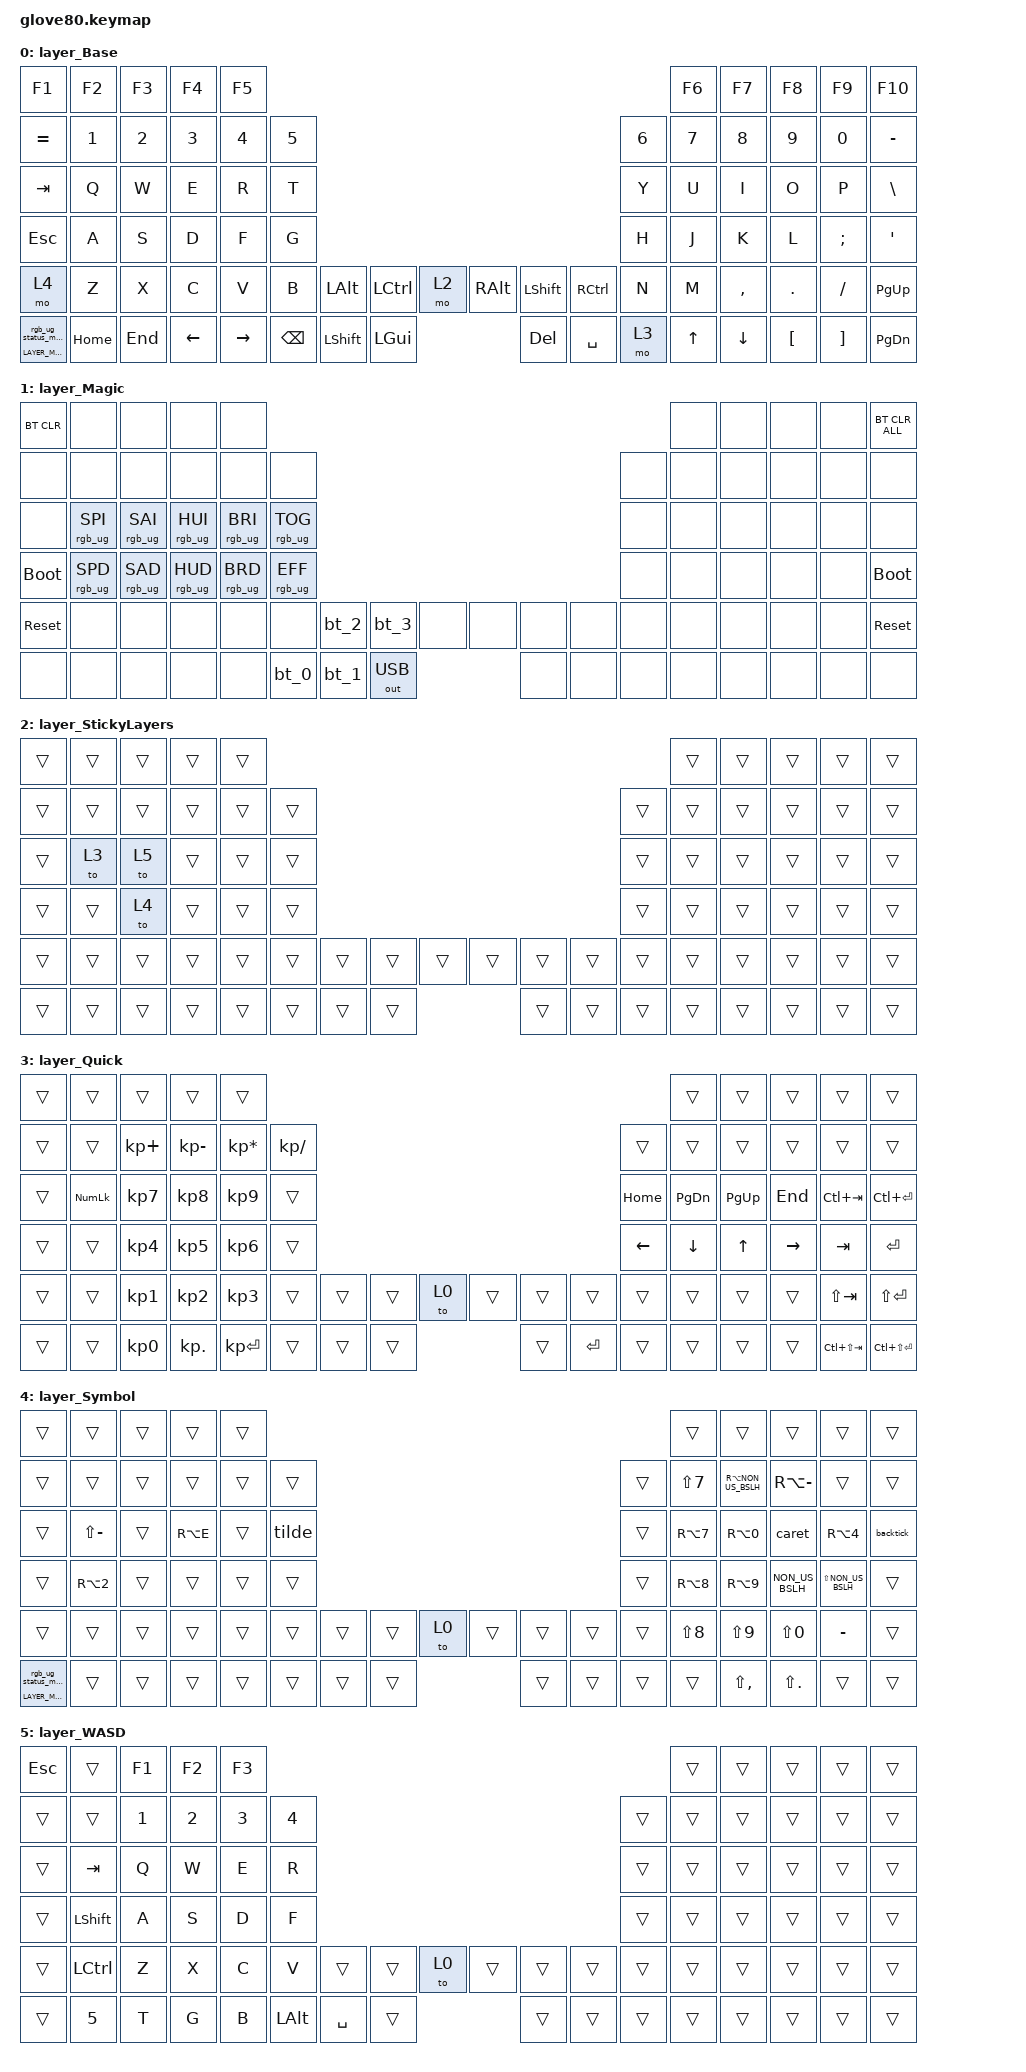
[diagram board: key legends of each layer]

/*
 * Copyright (c) 2020 The ZMK Contributors
 * Copyright (c) 2023 Innaworks Development Limited, trading as MoErgo
 *
 * SPDX-License-Identifier: MIT
 */


/* THIS FILE WAS GENERATED BY GLOVE80 LAYOUT EDITOR
 *
 * This file was generated automatically. You may or may not want to
 * edit it directly.
 */

#include <behaviors.dtsi>
/* Include all behavior includes needed */
#include <dt-bindings/zmk/outputs.h>
#include <dt-bindings/zmk/keys.h>
#include <dt-bindings/zmk/bt.h>
#include <dt-bindings/zmk/rgb.h>

/* Automatically generated layer name #define */
#define LAYER_Base 0
#define LAYER_Magic 1
#define LAYER_StickyLayers 2
#define LAYER_Quick 3
#define LAYER_Symbol 4
#define LAYER_WASD 5

/* To deal with the situation where there is no Lower layer, to keep &lower happy */
#ifndef LAYER_Lower
#define LAYER_Lower 0
#endif

/* Custom Device-tree */



/* Glove80 system behavior & macros */
/ {
    behaviors {
        // For the "layer" key, it'd nice to be able to use it as either a shift or a toggle.
        // Configure it as a tap dance, so the first tap (or hold) is a &mo and the second tap is a &to
        lower: lower {
            compatible = "zmk,behavior-tap-dance";
            label = "LAYER_TAP_DANCE";
            #binding-cells = <0>;
            tapping-term-ms = <200>;
            bindings = <&mo LAYER_Lower>, <&to LAYER_Lower>;
        };
    };
};

/ {
    macros {
        rgb_ug_status_macro: rgb_ug_status_macro {
            label = "RGB_UG_STATUS";
            compatible = "zmk,behavior-macro";
            #binding-cells = <0>;
            bindings
                = <&rgb_ug RGB_STATUS>;
        };
    };
};


/ {
#ifdef BT_DISC_CMD
    behaviors {
        bt_0: bt_0 {
            compatible = "zmk,behavior-tap-dance";
            label = "BT_0";
            #binding-cells = <0>;
            tapping-term-ms = <200>;
            bindings = <&bt_select_0>, <&bt BT_DISC 0>;
        };
        bt_1: bt_1 {
            compatible = "zmk,behavior-tap-dance";
            label = "BT_1";
            #binding-cells = <0>;
            tapping-term-ms = <200>;
            bindings = <&bt_select_1>, <&bt BT_DISC 1>;
        };
        bt_2: bt_2 {
            compatible = "zmk,behavior-tap-dance";
            label = "BT_2";
            #binding-cells = <0>;
            tapping-term-ms = <200>;
            bindings = <&bt_select_2>, <&bt BT_DISC 2>;
        };
        bt_3: bt_3 {
            compatible = "zmk,behavior-tap-dance";
            label = "BT_3";
            #binding-cells = <0>;
            tapping-term-ms = <200>;
            bindings = <&bt_select_3>, <&bt BT_DISC 3>;
        };
    };
    macros {
        bt_select_0: bt_select_0 {
            label = "BT_SELECT_0";
            compatible = "zmk,behavior-macro";
            #binding-cells = <0>;
            bindings
                = <&out OUT_BLE>,
                  <&bt BT_SEL 0>;
        };
        bt_select_1: bt_select_1 {
            label = "BT_SELECT_1";
            compatible = "zmk,behavior-macro";
            #binding-cells = <0>;
            bindings
                = <&out OUT_BLE>,
                  <&bt BT_SEL 1>;
        };
        bt_select_2: bt_select_2 {
            label = "BT_SELECT_2";
            compatible = "zmk,behavior-macro";
            #binding-cells = <0>;
            bindings
                = <&out OUT_BLE>,
                  <&bt BT_SEL 2>;
        };
        bt_select_3: bt_select_3 {
            label = "BT_SELECT_3";
            compatible = "zmk,behavior-macro";
            #binding-cells = <0>;
            bindings
                = <&out OUT_BLE>,
                  <&bt BT_SEL 3>;
        };
    };
#else
    macros {
        bt_0: bt_0 {
            label = "BT_0";
            compatible = "zmk,behavior-macro";
            #binding-cells = <0>;
            bindings
                = <&out OUT_BLE>,
                  <&bt BT_SEL 0>;
        };
        bt_1: bt_1 {
            label = "BT_1";
            compatible = "zmk,behavior-macro";
            #binding-cells = <0>;
            bindings
                = <&out OUT_BLE>,
                  <&bt BT_SEL 1>;
        };
        bt_2: bt_2 {
            label = "BT_2";
            compatible = "zmk,behavior-macro";
            #binding-cells = <0>;
            bindings
                = <&out OUT_BLE>,
                  <&bt BT_SEL 2>;
        };
        bt_3: bt_3 {
            label = "BT_3";
            compatible = "zmk,behavior-macro";
            #binding-cells = <0>;
            bindings
                = <&out OUT_BLE>,
                  <&bt BT_SEL 3>;
        };
    };
#endif
};

/ {
    behaviors {
        magic: magic {
            compatible = "zmk,behavior-hold-tap";
            label = "MAGIC_HOLD_TAP";
            #binding-cells = <2>;
            flavor = "tap-preferred";
            tapping-term-ms = <200>;
            bindings = <&mo>, <&rgb_ug_status_macro>;
        };
    };
};

/* #define for key positions */
#define POS_LH_T1 52
#define POS_LH_T2 53
#define POS_LH_T3 54
#define POS_LH_T4 69
#define POS_LH_T5 70
#define POS_LH_T6 71
#define POS_LH_C1R2 15
#define POS_LH_C1R3 27
#define POS_LH_C1R4 39
#define POS_LH_C1R5 51
#define POS_LH_C2R1 4
#define POS_LH_C2R2 14
#define POS_LH_C2R3 26
#define POS_LH_C2R4 38
#define POS_LH_C2R5 50
#define POS_LH_C2R6 68
#define POS_LH_C3R1 3
#define POS_LH_C3R2 13
#define POS_LH_C3R3 25
#define POS_LH_C3R4 37
#define POS_LH_C3R5 49
#define POS_LH_C3R6 67
#define POS_LH_C4R1 2
#define POS_LH_C4R2 12
#define POS_LH_C4R3 24
#define POS_LH_C4R4 36
#define POS_LH_C4R5 48
#define POS_LH_C4R6 66
#define POS_LH_C5R1 1
#define POS_LH_C5R2 11
#define POS_LH_C5R3 23
#define POS_LH_C5R4 35
#define POS_LH_C5R5 47
#define POS_LH_C5R6 65
#define POS_LH_C6R1 0
#define POS_LH_C6R2 10
#define POS_LH_C6R3 22
#define POS_LH_C6R4 34
#define POS_LH_C6R5 46
#define POS_LH_C6R6 64
#define POS_RH_T1 57
#define POS_RH_T2 56
#define POS_RH_T3 55
#define POS_RH_T4 74
#define POS_RH_T5 73
#define POS_RH_T6 72
#define POS_RH_C1R2 16
#define POS_RH_C1R3 28
#define POS_RH_C1R4 40
#define POS_RH_C1R5 58
#define POS_RH_C2R1 5
#define POS_RH_C2R2 17
#define POS_RH_C2R3 29
#define POS_RH_C2R4 41
#define POS_RH_C2R5 59
#define POS_RH_C2R6 75
#define POS_RH_C3R1 6
#define POS_RH_C3R2 18
#define POS_RH_C3R3 30
#define POS_RH_C3R4 42
#define POS_RH_C3R5 60
#define POS_RH_C3R6 76
#define POS_RH_C4R1 7
#define POS_RH_C4R2 19
#define POS_RH_C4R3 31
#define POS_RH_C4R4 43
#define POS_RH_C4R5 61
#define POS_RH_C4R6 77
#define POS_RH_C5R1 8
#define POS_RH_C5R2 20
#define POS_RH_C5R3 32
#define POS_RH_C5R4 44
#define POS_RH_C5R5 62
#define POS_RH_C5R6 78
#define POS_RH_C6R1 9
#define POS_RH_C6R2 21
#define POS_RH_C6R3 33
#define POS_RH_C6R4 45
#define POS_RH_C6R5 63
#define POS_RH_C6R6 79

/* Custom Defined Behaviors */
/ {
macros {
  backtick: backtick {
    label = "backtick";
    compatible = "zmk,behavior-macro";
    #binding-cells = <0>;
    wait-ms = <10>;
    tap-ms = <10>;
    bindings
    = <&kp LS(EQUAL) &kp SPACE>
    ;
  };
  tilde: tilde {
    label = "tilde";
    compatible = "zmk,behavior-macro";
    #binding-cells = <0>;
    wait-ms = <10>;
    tap-ms = <10>;
    bindings
    = <&kp RA(RIGHT_BRACKET) &kp SPACE>
    ;
  };
  caret: caret {
    label = "caret";
    compatible = "zmk,behavior-macro";
    #binding-cells = <0>;
    wait-ms = <10>;
    tap-ms = <10>;
    bindings
    = <&kp LS(RIGHT_BRACKET) &kp SPACE>
    ;
  };
};
};

/* Automatically generated macro definitions */
/ {
    macros {
    
    };
};

/* Automatically generated keymap */
/ {
    keymap {
        compatible = "zmk,keymap";


        layer_Base {
            bindings = <
               &kp F1    &kp F2   &kp F3    &kp F4     &kp F5                                                                                 &kp F6     &kp F7    &kp F8    &kp F9    &kp F10
            &kp EQUAL    &kp N1   &kp N2    &kp N3     &kp N4  &kp N5                                                                 &kp N6  &kp N7     &kp N8    &kp N9    &kp N0  &kp MINUS
              &kp TAB     &kp Q    &kp W     &kp E      &kp R   &kp T                                                                  &kp Y   &kp U      &kp I     &kp O     &kp P   &kp BSLH
              &kp ESC     &kp A    &kp S     &kp D      &kp F   &kp G                                                                  &kp H   &kp J      &kp K     &kp L  &kp SEMI    &kp SQT
                &mo 4     &kp Z    &kp X     &kp C      &kp V   &kp B  &kp LALT  &kp LCTRL     &mo 2  &kp RALT  &kp LSHFT  &kp RCTRL   &kp N   &kp M  &kp COMMA   &kp DOT  &kp FSLH  &kp PG_UP
 &magic LAYER_Magic 0  &kp HOME  &kp END  &kp LEFT  &kp RIGHT          &kp BSPC  &kp LSHFT  &kp LGUI   &kp DEL  &kp SPACE      &mo 3          &kp UP   &kp DOWN  &kp LBKT  &kp RBKT  &kp PG_DN
            >;
        };

        layer_Magic {
            bindings = <
  &bt BT_CLR            &none            &none            &none            &none                                                                                  &none   &none   &none   &none  &bt BT_CLR_ALL
       &none            &none            &none            &none            &none            &none                                                         &none   &none   &none   &none   &none           &none
       &none  &rgb_ug RGB_SPI  &rgb_ug RGB_SAI  &rgb_ug RGB_HUI  &rgb_ug RGB_BRI  &rgb_ug RGB_TOG                                                         &none   &none   &none   &none   &none           &none
 &bootloader  &rgb_ug RGB_SPD  &rgb_ug RGB_SAD  &rgb_ug RGB_HUD  &rgb_ug RGB_BRD  &rgb_ug RGB_EFF                                                         &none   &none   &none   &none   &none     &bootloader
  &sys_reset            &none            &none            &none            &none            &none   &bt_2   &bt_3         &none   &none   &none   &none   &none   &none   &none   &none   &none      &sys_reset
       &none            &none            &none            &none            &none                    &bt_0   &bt_1  &out OUT_USB   &none   &none   &none           &none   &none   &none   &none           &none
            >;
        };

        layer_StickyLayers {
            bindings = <
 &trans  &trans  &trans  &trans  &trans                                                                  &trans  &trans  &trans  &trans  &trans
 &trans  &trans  &trans  &trans  &trans  &trans                                                  &trans  &trans  &trans  &trans  &trans  &trans
 &trans   &to 3   &to 5  &trans  &trans  &trans                                                  &trans  &trans  &trans  &trans  &trans  &trans
 &trans  &trans   &to 4  &trans  &trans  &trans                                                  &trans  &trans  &trans  &trans  &trans  &trans
 &trans  &trans  &trans  &trans  &trans  &trans  &trans  &trans  &trans  &trans  &trans  &trans  &trans  &trans  &trans  &trans  &trans  &trans
 &trans  &trans  &trans  &trans  &trans          &trans  &trans  &trans  &trans  &trans  &trans          &trans  &trans  &trans  &trans  &trans
            >;
        };

        layer_Quick {
            bindings = <
 &trans      &trans       &trans        &trans           &trans                                                                              &trans     &trans     &trans           &trans           &trans
 &trans      &trans  &kp KP_PLUS  &kp KP_MINUS  &kp KP_MULTIPLY  &kp KP_SLASH                                                     &trans     &trans     &trans     &trans           &trans           &trans
 &trans  &kp KP_NUM    &kp KP_N7     &kp KP_N8        &kp KP_N9        &trans                                                   &kp HOME  &kp PG_DN  &kp PG_UP    &kp END      &kp LC(TAB)      &kp LC(RET)
 &trans      &trans    &kp KP_N4     &kp KP_N5        &kp KP_N6        &trans                                                   &kp LEFT   &kp DOWN     &kp UP  &kp RIGHT          &kp TAB          &kp RET
 &trans      &trans    &kp KP_N1     &kp KP_N2        &kp KP_N3        &trans  &trans  &trans   &to 0  &trans   &trans  &trans    &trans     &trans     &trans     &trans      &kp LS(TAB)      &kp LS(RET)
 &trans      &trans    &kp KP_N0    &kp KP_DOT     &kp KP_ENTER                &trans  &trans  &trans  &trans  &kp RET  &trans               &trans     &trans     &trans  &kp LC(LS(TAB))  &kp LC(LS(RET))
            >;
        };

        layer_Symbol {
            bindings = <
               &trans         &trans  &trans     &trans  &trans                                                                      &trans               &trans           &trans               &trans     &trans
               &trans         &trans  &trans     &trans  &trans  &trans                                                  &trans  &kp LS(N7)  &kp RA(NON_US_BSLH)    &kp RA(MINUS)               &trans     &trans
               &trans  &kp LS(MINUS)  &trans  &kp RA(E)  &trans  &tilde                                                  &trans  &kp RA(N7)           &kp RA(N0)           &caret           &kp RA(N4)  &backtick
               &trans     &kp RA(N2)  &trans     &trans  &trans  &trans                                                  &trans  &kp RA(N8)           &kp RA(N9)  &kp NON_US_BSLH  &kp LS(NON_US_BSLH)     &trans
               &trans         &trans  &trans     &trans  &trans  &trans  &trans  &trans   &to 0  &trans  &trans  &trans  &trans  &kp LS(N8)           &kp LS(N9)       &kp LS(N0)            &kp MINUS     &trans
 &magic LAYER_Magic 0         &trans  &trans     &trans  &trans          &trans  &trans  &trans  &trans  &trans  &trans              &trans        &kp LS(COMMA)      &kp LS(DOT)               &trans     &trans
            >;
        };

        layer_WASD {
            bindings = <
 &kp ESC     &trans  &kp F1  &kp F2  &kp F3                                                                       &trans  &trans  &trans  &trans  &trans
  &trans     &trans  &kp N1  &kp N2  &kp N3  &kp N4                                                       &trans  &trans  &trans  &trans  &trans  &trans
  &trans    &kp TAB   &kp Q   &kp W   &kp E   &kp R                                                       &trans  &trans  &trans  &trans  &trans  &trans
  &trans  &kp LSHFT   &kp A   &kp S   &kp D   &kp F                                                       &trans  &trans  &trans  &trans  &trans  &trans
  &trans  &kp LCTRL   &kp Z   &kp X   &kp C   &kp V    &trans     &trans   &to 0  &trans  &trans  &trans  &trans  &trans  &trans  &trans  &trans  &trans
  &trans     &kp N5   &kp T   &kp G   &kp B          &kp LALT  &kp SPACE  &trans  &trans  &trans  &trans          &trans  &trans  &trans  &trans  &trans
            >;
        };

    };
};
